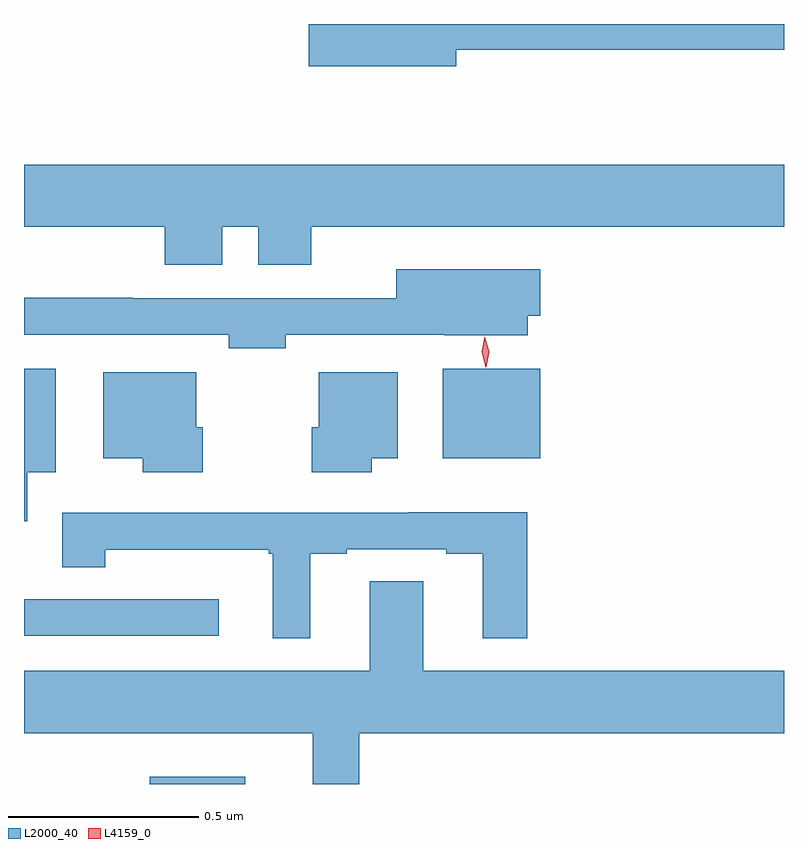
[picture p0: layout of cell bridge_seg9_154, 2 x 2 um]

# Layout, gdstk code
import gdstk
lib = gdstk.Library(unit=1e-6, precision=1e-09)
def R(c, l, rs):  # rectangles x0, y0, x1, y1
    for r in rs: c.add(gdstk.rectangle(r[:2], r[2:], *l))
def P(c, l, *ps):  # polygons
    for p in ps: c.add(gdstk.Polygon(p, *l))
L2000_40 = (2000, 40)
L4159_0 = (4159, 0)

bridge_seg9_154 = lib.new_cell('bridge_seg9_154')
R(bridge_seg9_154, L2000_40, [(550.754,1180.302,551.005,1180.321), (550.423,1180.692,550.936,1180.788), (551.525,1181.159,551.782,1181.395)])
P(bridge_seg9_154, L2000_40, [(551.56,1182.234),(552.423,1182.234),(552.423,1182.302),(551.172,1182.302),(551.172,1182.191),(551.56,1182.191)],
  [(550.945,1181.768),(551.039,1181.768),(551.039,1181.669),(551.179,1181.669),(551.179,1181.768),(552.423,1181.768),(552.423,1181.932),(550.423,1181.932),(550.423,1181.768),(550.793,1181.768),(550.793,1181.669),(550.945,1181.669)],
  [(551.112,1181.484),(551.529,1181.484),(551.529,1181.483),(551.749,1181.483),(551.749,1181.534),(551.782,1181.534),(551.782,1181.656),(551.402,1181.656),(551.402,1181.58),(550.709,1181.58),(550.709,1181.582),(550.423,1181.582),(550.423,1181.484),(550.962,1181.484),(550.962,1181.449),(551.112,1181.449)],
  [(550.432,1181.123),(550.507,1181.123),(550.507,1181.395),(550.423,1181.395),(550.423,1180.993),(550.432,1180.993)],
  [(551.338,1181.159),(551.407,1181.159),(551.407,1181.386),(551.198,1181.386),(551.198,1181.241),(551.18,1181.241),(551.18,1181.123),(551.338,1181.123)],
  [(550.894,1181.241),(550.876,1181.241),(550.876,1181.386),(550.631,1181.386),(550.631,1181.159),(550.736,1181.159),(550.736,1181.123),(550.894,1181.123)],
  [(551.176,1180.908),(551.272,1180.908),(551.272,1180.92),(551.534,1180.92),(551.534,1180.908),(551.63,1180.908),(551.63,1180.685),(551.747,1180.685),(551.747,1181.017),(551.434,1181.017),(551.434,1181.016),(550.524,1181.016),(550.524,1180.873),(550.637,1180.873),(550.637,1180.919),(551.067,1180.919),(551.067,1180.908),(551.078,1180.908),(551.078,1180.685),(551.176,1180.685)],
  [(551.305,1180.436),(552.423,1180.436),(552.423,1180.6),(551.473,1180.6),(551.473,1180.835),(551.333,1180.835),(551.333,1180.6),(550.423,1180.6),(550.423,1180.436),(551.183,1180.436),(551.183,1180.302),(551.305,1180.302)])
P(bridge_seg9_154, L4159_0, [(551.638,1181.399),(551.627,1181.439),(551.635,1181.479),(551.636,1181.479),(551.636,1181.479),(551.647,1181.439),(551.639,1181.399),(551.639,1181.399)])

lib.write_gds('bridge_seg9_154.gds')
